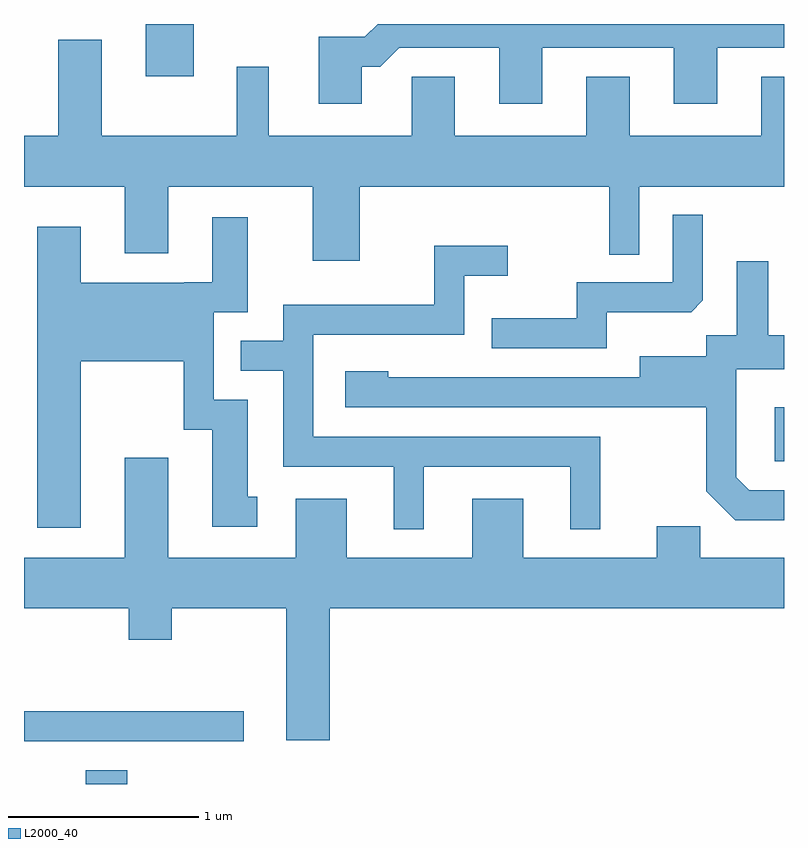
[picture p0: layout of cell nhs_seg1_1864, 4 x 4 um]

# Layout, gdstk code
import gdstk
lib = gdstk.Library(unit=1e-6, precision=1e-09)
def R(c, l, rs):  # rectangles x0, y0, x1, y1
    for r in rs: c.add(gdstk.rectangle(r[:2], r[2:], *l))
def P(c, l, *ps):  # polygons
    for p in ps: c.add(gdstk.Polygon(p, *l))
L2000_40 = (2000, 40)

nhs_seg1_1864 = lib.new_cell('nhs_seg1_1864')
R(nhs_seg1_1864, L2000_40, [(241.936,949.712,242.154,949.784), (241.611,949.936,242.768,950.094), (245.561,951.411,245.611,951.694), (242.251,953.436,242.504,953.712)])
P(nhs_seg1_1864, L2000_40, [(243.389,953.486),(243.487,953.486),(243.587,953.586),(244.111,953.586),(244.111,953.291),(244.339,953.291),(244.339,953.586),(245.031,953.586),(245.031,953.291),(245.259,953.291),(245.259,953.586),(245.611,953.586),(245.611,953.712),(243.472,953.712),(243.404,953.644),(243.161,953.644),(243.161,953.291),(243.389,953.291)],
  [(242.731,953.488),(242.731,953.124),(242.019,953.124),(242.019,953.629),(241.791,953.629),(241.791,953.124),(241.611,953.124),(241.611,952.856),(242.141,952.856),(242.141,952.506),(242.369,952.506),(242.369,952.856),(243.131,952.856),(243.131,952.466),(243.379,952.466),(243.379,952.856),(244.691,952.856),(244.691,952.498),(244.849,952.498),(244.849,952.856),(245.611,952.856),(245.611,953.434),(245.491,953.434),(245.491,953.124),(244.799,953.124),(244.799,953.434),(244.571,953.434),(244.571,953.124),(243.879,953.124),(243.879,953.434),(243.651,953.434),(243.651,953.124),(242.899,953.124),(242.899,953.488)],
  [(244.679,952.196),(245.124,952.196),(245.184,952.257),(245.184,952.708),(245.026,952.708),(245.026,952.354),(244.521,952.354),(244.521,952.164),(244.073,952.164),(244.073,952.006),(244.679,952.006)],
  [(241.909,951.936),(242.451,951.936),(242.451,951.576),(242.601,951.576),(242.601,951.066),(242.838,951.066),(242.838,951.224),(242.789,951.224),(242.789,951.734),(242.609,951.734),(242.609,952.196),(242.789,952.196),(242.789,952.694),(242.601,952.694),(242.601,952.354),(242.455,952.354),(242.455,952.349),(241.909,952.349),(241.909,952.644),(241.681,952.644),(241.681,951.061),(241.909,951.061)],
  [(243.714,951.381),(244.486,951.381),(244.486,951.053),(244.644,951.053),(244.644,951.539),(243.134,951.539),(243.134,952.076),(243.929,952.076),(243.929,952.386),(244.158,952.386),(244.158,952.544),(243.771,952.544),(243.771,952.234),(242.976,952.234),(242.976,952.044),(242.753,952.044),(242.753,951.886),(242.976,951.886),(242.976,951.381),(243.556,951.381),(243.556,951.053),(243.714,951.053)],
  [(245.611,951.259),(245.427,951.259),(245.359,951.327),(245.359,951.896),(245.611,951.896),(245.611,952.074),(245.529,952.074),(245.529,952.463),(245.361,952.463),(245.361,952.074),(245.201,952.074),(245.201,951.964),(244.851,951.964),(244.851,951.854),(243.529,951.854),(243.529,951.884),(243.301,951.884),(243.301,951.696),(245.201,951.696),(245.201,951.254),(245.354,951.101),(245.611,951.101)],
  [(243.219,950.636),(245.611,950.636),(245.611,950.904),(245.169,950.904),(245.169,951.069),(244.941,951.069),(244.941,950.904),(244.239,950.904),(244.239,951.214),(243.971,951.214),(243.971,950.904),(243.309,950.904),(243.309,951.214),(243.041,951.214),(243.041,950.904),(242.369,950.904),(242.369,951.429),(242.141,951.429),(242.141,950.904),(241.611,950.904),(241.611,950.636),(242.161,950.636),(242.161,950.471),(242.389,950.471),(242.389,950.636),(242.991,950.636),(242.991,949.941),(243.219,949.941)])

lib.write_gds('nhs_seg1_1864.gds')
